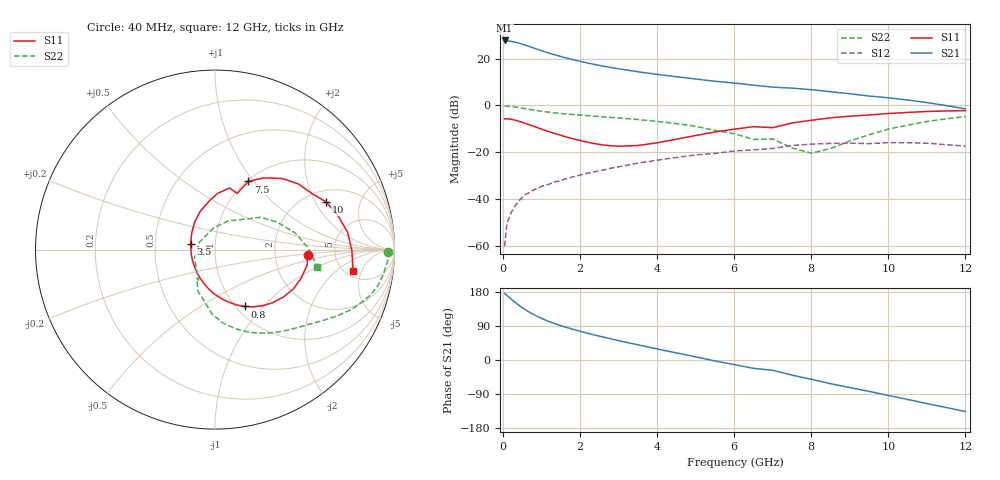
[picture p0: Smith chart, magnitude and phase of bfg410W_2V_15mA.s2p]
! Filename: 215bfg410.001
! BFG410W Field B1
! V1=8.884E-001V,V2=2.000E+000V, I1=2.460E-004A, I2=1.500E-002A
# GHz  S  MA  R 50
!  S11  S21  S12  S22
!Freq(GHz)  Mag  Ang  Mag  Ang  Mag  Ang  Mag  Ang
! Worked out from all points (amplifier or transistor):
!   44 points, 40 MHz to 12 GHz, reference 50 ohm
!   highest |S21| = 27.7 dB at 40 MHz (marker M1)
!   |S21| within 3 dB of that: start of sweep to 755.8 MHz
!   unconditionally stable (mu >= 1): start of sweep to 48.07 MHz; 1.426 GHz to end of sweep
!   at 700 MHz: K = 0.66, MSG = 31.1 dB, |S12| = -37.1 dB
!   at 2.4 GHz: K = 1.19, MAG = 20.1 dB, |S12| = -28.2 dB
!   at 12 GHz: K = 1.51, MAG = 3.7 dB, |S12| = -17.3 dB
!   S11 on the Smith chart (normalised r, x): 40 MHz: 3.11, -0.27; 800 MHz: 1.10, -0.80; 3.5 GHz: 0.76, +0.05; 7.5 GHz: 1.02, +0.94; 10 GHz: 2.52, +2.46; 12 GHz: 5.84, -3.52
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0.04  0.517 -3.5  24.3 175.8  0.001 74.2  0.962 -0.6
0.1  0.521 -9.2  23.98 170.8  0.003 85.9  0.965 -3.6
0.2  0.506 -18.3  23.28 161.5  0.005 80.7  0.948 -8.4
0.3  0.488 -26.9  22.47 153.4  0.007 77.8  0.93 -12.4
0.4  0.463 -35.0  21.41 145.3  0.009 74.4  0.904 -16.1
0.5  0.436 -42.8  20.23 137.9  0.011 70.9  0.874 -19.1
0.6  0.41 -49.8  19.04 131.3  0.013 69.3  0.848 -21.9
0.8  0.358 -62.3  16.72 119.6  0.016 66.1  0.796 -26.5
1.1  0.293 -77.8  13.84 105.5  0.02 63.1  0.734 -32.0
1.4  0.245 -91.5  11.64 94.1  0.024 61.4  0.687 -36.5
1.8  0.196 -109.2  9.516 81.4  0.03 59.3  0.642 -42.0
2.2  0.164 -127.0  8.014 70.4  0.036 57.1  0.606 -47.7
2.8  0.138 -156.9  6.441 55.7  0.046 52.4  0.557 -56.4
3.5  0.14 166.5  5.225 40.0  0.059 45.4  0.501 -67.2
4.5  0.191 126.3  4.09 18.7  0.078 32.6  0.411 -83.9
5.5  0.272 96.8  3.28 -2.5  0.095 17.2  0.295 -101.4
6.5  0.353 76.8  2.705 -22.0  0.113 2.8  0.189 -122.0
7.5  0.423 63.9  2.341 -39.9  0.14 -8.9  0.124 -157.2
8.5  0.545 46.6  1.963 -62.5  0.155 -31.5  0.121 93.7
10  0.673 23.3  1.457 -93.6  0.161 -61.1  0.313 35.2
10.5  0.71 15.6  1.306 -104.1  0.16 -71.4  0.381 23.5
12  0.778 -8.8  0.845 -135.8  0.136 -108.4  0.579 -9.6
